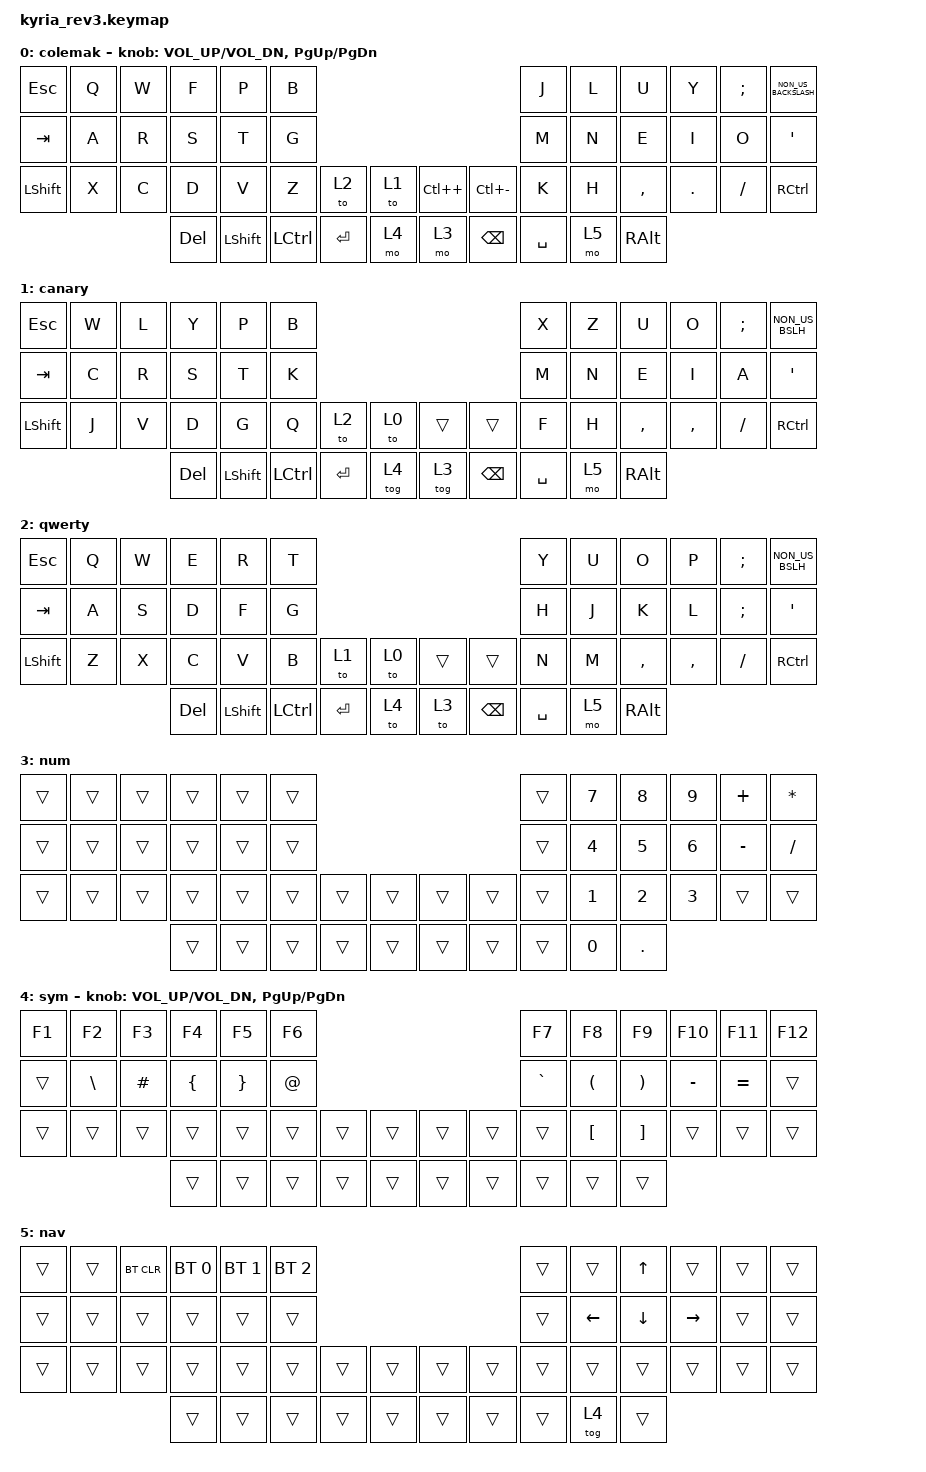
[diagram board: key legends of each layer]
/*
 * Copyright (c) 2023 The ZMK Contributors
 *
 * SPDX-License-Identifier: MIT
 */

#include <behaviors.dtsi>
#include <dt-bindings/zmk/bt.h>
#include <dt-bindings/zmk/keys.h>

/* Uncomment this block if using RGB
&led_strip {
    chain-length = <6>;
    // chain-length = <31>; // Uncomment if using both per-key and underglow LEDs
    // chain-length = <25>; // Uncomment if using only per-key LEDs.
};
 */

/ {
    keymap {
        compatible = "zmk,keymap";

        colemak {
            // ---------------------------------------------------------------------------------------------------------------------------------
            // |  ESC  |  Q  |  W  |  F   |  P   |  B   |                                          |  J   |  L    |  U    |  Y   |   ;   |   \  |
            // |  TAB  |  A  |  R  |  S   |  T   |  G   |                                          |  M   |  N    |  E    |  I   |   O   |   '  |
            // | SHIFT |  X  |  C  |  D   |  V   |  Z   | L SHIFT | L SHIFT |  | LAYER 1 | L SHIFT |  K   |  H    |  ,    |  .   |   /   | CTRL |
            //                     | GUI  | DEL  | RET  |  SPACE  |   ESC   |  |   RET   |  SPACE  | TAB  | BSPC  | R-ALT |

            bindings = <
&kp ESC    &kp Q  &kp W  &kp F    &kp P           &kp B                                                     &kp J      &kp L  &kp U          &kp Y    &kp SEMI  &kp NON_US_BACKSLASH
&kp TAB    &kp A  &kp R  &kp S    &kp T           &kp G                                                     &kp M      &kp N  &kp E          &kp I    &kp O     &kp SQT
&kp LSHFT  &kp X  &kp C  &kp D    &kp V           &kp Z      &to 2      &to 1  &kp LC(PLUS)  &kp LC(MINUS)  &kp K      &kp H  &kp COMMA      &kp DOT  &kp FSLH  &kp RCTRL
                         &kp DEL  &kp LEFT_SHIFT  &kp LCTRL  &kp ENTER  &mo 4  &mo 3         &kp BACKSPACE  &kp SPACE  &mo 5  &kp RIGHT_ALT
            >;

            sensor-bindings = <&inc_dec_kp C_VOL_UP C_VOL_DN &inc_dec_kp PG_UP PG_DN>;
        };

        canary {
            bindings = <
&kp ESC    &kp W  &kp L  &kp Y    &kp P      &kp B                                         &kp X      &kp Z  &kp U          &kp O      &kp SEMI   &kp NON_US_BSLH
&kp TAB    &kp C  &kp R  &kp S    &kp T      &kp K                                         &kp M      &kp N  &kp E          &kp I      &kp A      &kp SQT
&kp LSHFT  &kp J  &kp V  &kp D    &kp G      &kp Q      &to 2    &to 0   &trans  &trans    &kp F      &kp H  &kp COMMA      &kp COMMA  &kp SLASH  &kp RCTRL
                         &kp DEL  &kp LSHFT  &kp LCTRL  &kp RET  &tog 4  &tog 3  &kp BSPC  &kp SPACE  &mo 5  &kp RIGHT_ALT
            >;
        };

        qwerty {
            bindings = <
&kp ESC         &kp Q  &kp W  &kp E    &kp R      &kp T                                        &kp Y      &kp U  &kp O          &kp P      &kp SEMICOLON  &kp NON_US_BSLH
&kp TAB         &kp A  &kp S  &kp D    &kp F      &kp G                                        &kp H      &kp J  &kp K          &kp L      &kp SEMI       &kp SQT
&kp LEFT_SHIFT  &kp Z  &kp X  &kp C    &kp V      &kp B      &to 1    &to 0  &trans  &trans    &kp N      &kp M  &kp COMMA      &kp COMMA  &kp FSLH       &kp RIGHT_CONTROL
                              &kp DEL  &kp LSHFT  &kp LCTRL  &kp RET  &to 4  &to 3   &kp BSPC  &kp SPACE  &mo 5  &kp RIGHT_ALT
            >;
        };

        num {
            bindings = <
&trans  &trans  &trans  &trans  &trans  &trans                                  &trans  &kp N7        &kp N8        &kp N9        &kp PLUS   &kp ASTERISK
&trans  &trans  &trans  &trans  &trans  &trans                                  &trans  &kp NUMBER_4  &kp N5        &kp NUMBER_6  &kp MINUS  &kp SLASH
&trans  &trans  &trans  &trans  &trans  &trans  &trans  &trans  &trans  &trans  &trans  &kp NUMBER_1  &kp NUMBER_2  &kp NUMBER_3  &trans     &trans
                        &trans  &trans  &trans  &trans  &trans  &trans  &trans  &trans  &kp NUMBER_0  &kp PERIOD
            >;
        };

        sym {
            // ---------------------------------------------------------------------------------------------------------------------------------
            // |       |      |BT_CLR|BTSEL0|BTSEL1|BTSEL2|                                         |      |      |      |      |      |      |
            // |       |      |      |BTSEL3|BTSEL4|      |                                         |      |      |      |      |      |      |
            // |       |      |      |      |      |      |      |      |      |      |      |      |      |      |      |      |      |      |
            //                       |      |      |      |      |      |      |      |      |      |      |      |      |

            bindings = <
&kp F1  &kp F2         &kp F3    &kp F4          &kp F5           &kp F6                                       &kp F7     &kp F8                &kp F9                 &kp F10    &kp F11    &kp F12
&trans  &kp BACKSLASH  &kp HASH  &kp LEFT_BRACE  &kp RIGHT_BRACE  &kp AT_SIGN                                  &kp GRAVE  &kp LEFT_PARENTHESIS  &kp RIGHT_PARENTHESIS  &kp MINUS  &kp EQUAL  &trans
&trans  &trans         &trans    &trans          &trans           &trans       &trans  &trans  &trans  &trans  &trans     &kp LEFT_BRACKET      &kp RIGHT_BRACKET      &trans     &trans     &trans
                                 &trans          &trans           &trans       &trans  &trans  &trans  &trans  &trans     &trans                &trans
            >;

            sensor-bindings = <&inc_dec_kp C_VOL_UP C_VOL_DN &inc_dec_kp PG_UP PG_DN>;
        };

        nav {
            bindings = <
&trans  &trans  &bt BT_CLR  &bt BT_SEL 0  &bt BT_SEL 1  &bt BT_SEL 2                                  &trans  &trans          &kp UP_ARROW    &trans     &trans  &trans
&trans  &trans  &trans      &trans        &trans        &trans                                        &trans  &kp LEFT_ARROW  &kp DOWN_ARROW  &kp RIGHT  &trans  &trans
&trans  &trans  &trans      &trans        &trans        &trans        &trans  &trans  &trans  &trans  &trans  &trans          &trans          &trans     &trans  &trans
                            &trans        &trans        &trans        &trans  &trans  &trans  &trans  &trans  &tog 4          &trans
            >;
        };
    };
};
